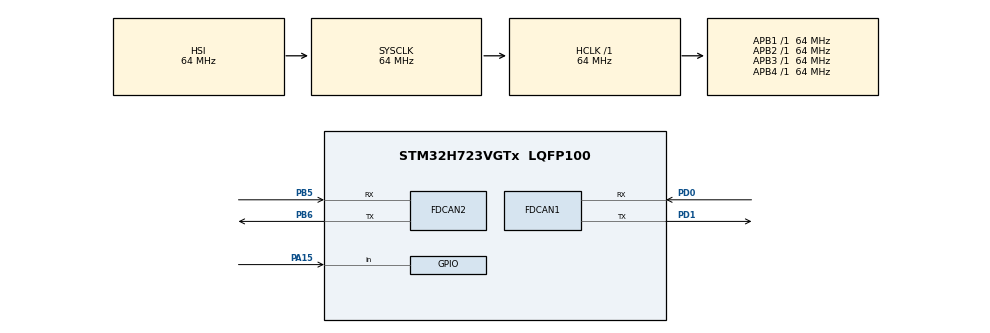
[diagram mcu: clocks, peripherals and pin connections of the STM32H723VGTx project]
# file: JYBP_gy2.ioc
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CORTEX_M7.default_mode_Activation=1
FDCAN1.CalculateBaudRateNominal=1000000
FDCAN1.CalculateTimeBitNominal=1000
FDCAN1.CalculateTimeQuantumNominal=83.33333333333333
FDCAN1.ExtFiltersNbr=2
FDCAN1.NominalPrescaler=4
FDCAN1.NominalTimeSeg1=9
FDCAN1.RxFifo0ElmtsNbr=2
FDCAN1.TxFifoQueueElmtsNbr=3
FDCAN2.CalculateBaudRateNominal=1000000
FDCAN2.CalculateTimeBitNominal=1000
FDCAN2.CalculateTimeQuantumNominal=83.33333333333333
FDCAN2.ExtFiltersNbr=2
FDCAN2.NominalPrescaler=4
FDCAN2.NominalTimeSeg1=9
FDCAN2.RxFifo0ElmtsNbr=2
FDCAN2.TxFifoQueueElmtsNbr=3
Mcu.Family=STM32H7
Mcu.Name=STM32H723VGTx
Mcu.Package=LQFP100
NVIC.FDCAN1_IT0_IRQn=true\:0\:0\:false\:false\:true\:true\:true\:true
NVIC.FDCAN1_IT1_IRQn=true\:0\:0\:false\:false\:true\:true\:true\:true
NVIC.FDCAN2_IT0_IRQn=true\:0\:0\:false\:false\:true\:true\:true\:true
NVIC.FDCAN2_IT1_IRQn=true\:0\:0\:false\:false\:true\:true\:true\:true
NVIC.PriorityGroup=NVIC_PRIORITYGROUP_4
NVIC.TIM2_IRQn=true\:0\:0\:false\:false\:true\:true\:true\:true
NVIC.TIM3_IRQn=true\:1\:0\:true\:false\:true\:true\:true\:true
PA15(JTDI).GPIO_PuPd=GPIO_PULLUP
PA15(JTDI).Signal=GPIO_Input
PB5.Mode=FDCAN_Activate
PB5.Signal=FDCAN2_RX
PB6.Mode=FDCAN_Activate
PB6.Signal=FDCAN2_TX
PD0.Mode=FDCAN_Activate
PD0.Signal=FDCAN1_RX
PD1.Mode=FDCAN_Activate
PD1.Signal=FDCAN1_TX
PH0-OSC_IN.Mode=HSE-External-Oscillator
PH0-OSC_IN.Signal=RCC_OSC_IN
PH1-OSC_OUT.Mode=HSE-External-Oscillator
PH1-OSC_OUT.Signal=RCC_OSC_OUT
ProjectManager.HeapSize=0x200
ProjectManager.StackSize=0x400
ProjectManager.TargetToolchain=MDK-ARM V5.32
RCC.ADCFreq_Value=129000000
RCC.APB1Freq_Value=64000000
RCC.APB2Freq_Value=64000000
RCC.APB3Freq_Value=64000000
RCC.APB4Freq_Value=64000000
RCC.CortexFreq_Value=64000000
RCC.DIVM1=4
RCC.DIVN1=12
RCC.DIVQ1=4
RCC.HCLKFreq_Value=64000000
RCC.PLLFRACN=0
RCC.SYSCLKFreq_VALUE=64000000
RCC.USBFreq_Value=48000000
TIM2.Period=999
TIM2.Prescaler=3199
TIM3.Period=9999
TIM3.Prescaler=639
VP_MEMORYMAP_VS_MEMORYMAP.Mode=CurAppReg
VP_TIM2_VS_ClockSourceINT.Mode=Internal
VP_TIM3_VS_ClockSourceINT.Mode=Internal
board=custom

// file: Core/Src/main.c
/* USER CODE BEGIN Header */
/**
  ******************************************************************************
  * @file           : main.c
  * @brief          : Main program body
  ******************************************************************************
  * @attention
  *
  * Copyright (c) 2025 STMicroelectronics.
  * All rights reserved.
  *
  * This software is licensed under terms that can be found in the LICENSE file
  * in the root directory of this software component.
  * If no LICENSE file comes with this software, it is provided AS-IS.
  *
  ******************************************************************************
  */
/* USER CODE END Header */
#include "main.h"

/* USER CODE BEGIN PD */

#define LASER_ID 0x101        // ????? CAN ID
#define MOTOR_POS_ID 0x302    // CyberGear ???? CAN ID
#define TARGET_DISTANCE 330.0 // ????,?? mm
#define NOISE_THRESHOLD 25.0  // ?????,?25mm
#define ALPHA 0.05            // EMA ????
#define WINDOW_VAR 1200       // ????,60s / 0.05s = 1200 ??
#define STOP_THRESHOLD 0.000025 // ??????
#define TREND_THRESHOLD 10.0  // ????,?10mm
#define CONTROL_INTERVAL 30   // ????,30s
#define STOP_PIN GPIO_PIN_0   // ????,PA0
#define STOP_PORT GPIOA
#define PAUSE_PIN GPIO_PIN_1  // ????,PA1

/* USER CODE END PD */

FDCAN_HandleTypeDef hfdcan1;
FDCAN_HandleTypeDef hfdcan2;

TIM_HandleTypeDef htim2;
TIM_HandleTypeDef htim3;

/* USER CODE BEGIN PV */

float laser_filtered = 0;    // ???????
float laser_ema = 0;         // EMA ?
float motor_pos = 0;         // ????(?)
float last_ema = 0;          // ??? EMA ?
float variance = 0;          // ??????
float window_data[WINDOW_VAR]; // ????????
uint32_t window_idx = 0;     // ????
uint8_t is_stopped = 0;      // ??????
uint8_t tx_data_jogp[8]={0x05,0x70,0x00,0x00,0x07,0x01,0x95,0x54};
uint8_t d2_runmode=0;

/* USER CODE END PV */

void SystemClock_Config(void);
static void MPU_Config(void);
static void MX_GPIO_Init(void);
static void MX_FDCAN1_Init(void);
static void MX_FDCAN2_Init(void);
static void MX_TIM2_Init(void);
static void MX_TIM3_Init(void);

int main(void)
{

  /* MPU Configuration--------------------------------------------------------*/
  MPU_Config();

  /* MCU Configuration--------------------------------------------------------*/

  /* Reset of all peripherals, Initializes the Flash interface and the Systick. */
  HAL_Init();

  /* Configure the system clock */
  SystemClock_Config();

  /* Initialize all configured peripherals */
  MX_GPIO_Init();
  MX_FDCAN1_Init();
  MX_FDCAN2_Init();
  MX_TIM2_Init();
  MX_TIM3_Init();
  /* USER CODE BEGIN 2 */

	CybergearCanInterfaceStm32 cybergear_can_interface_;
	CybergearCanInterfaceStm32 cybergear_can_interface_2;

  cybergear_can_interface_.initCan(&hfdcan1);
	cybergear_can_interface_2.initCan(&hfdcan2);

  CybergearDriver driver1_(0xFD, 0x001);
  CybergearDriver driver2_(0xFD, 0x002);

  driver1_.init(&cybergear_can_interface_2);
  driver2_.init(&cybergear_can_interface_2);

  driver1_.reset_motor();
  driver1_.set_mech_position_to_zero();
  driver1_.enable_motor();
  driver1_.set_run_mode(CMD_CONTROL);

  driver2_.reset_motor();
	//d2_runmode=driver2_.	get_run_mode();
  driver2_.set_mech_position_to_zero();
	//d2_runmode=driver2_.	get_run_mode();
  driver2_.enable_motor();
	//d2_runmode=driver2_.	get_run_mode();
  driver2_.set_run_mode(CMD_CONTROL);
	//d2_runmode=driver2_.	get_run_mode();
	//uint8_t test_data[8] = {0x01, 0x02, 0x03, 0x04, 0x05, 0x06, 0x07, 0x08};
	//cybergear_can_interface_2.send_message(0x12345678, test_data, 8, true);
	HAL_Delay(100);
  /* USER CODE END 2 */

  /* Infinite loop */
  while (1)
  {

    /* USER CODE BEGIN 3 */
		HAL_GPIO_TogglePin(GPIOA, GPIO_PIN_15);
		HAL_Delay(500);
		GPIO_PinState pinState = HAL_GPIO_ReadPin(GPIOA, GPIO_PIN_15);

		if (pinState == GPIO_PIN_SET) {

//		d2_runmode=driver2_.	get_run_mode();
//	if	(d2_runmode==0)
//	{
//		  driver1_.enable_motor();
//		  driver2_.enable_motor();
//	}
//
		driver1_.motor_control(0.0, 0.1, 0.0, 15, 1);
    HAL_Delay(500);
    driver2_.motor_control(0.0, 0.1, 0.0, 15, 1);
    HAL_Delay(500);
    driver1_.motor_control(1.0, 0.1, 0.0, 15, 1);
    HAL_Delay(500);
		driver2_.motor_control(1.0, 0.1, 0.0, 15, 1);
    HAL_Delay(500);
		//HAL_FDCAN_AddMessageToTxFifoQ(hfdcan2, &TxHeader, data);
		//cybergear_can_interface_.send_message(0x12345678, test_data, 8, true);
		//fdcanx_send_data(&hfdcan2, 0x1200fd02, tx_data_jogp, 8);
		HAL_Delay(500);

        } else {
            driver2_.reset_motor();
					  driver1_.reset_motor();
						HAL_Delay(500);

        }

  }
  /* USER CODE END 3 */
}

void SystemClock_Config(void)
{
  RCC_OscInitTypeDef RCC_OscInitStruct = {0};
  RCC_ClkInitTypeDef RCC_ClkInitStruct = {0};

  /** Supply configuration update enable
  */
  HAL_PWREx_ConfigSupply(PWR_LDO_SUPPLY);

  /** Configure the main internal regulator output voltage
  */
  __HAL_PWR_VOLTAGESCALING_CONFIG(PWR_REGULATOR_VOLTAGE_SCALE3);

  while(!__HAL_PWR_GET_FLAG(PWR_FLAG_VOSRDY)) {}

  /** Initializes the RCC Oscillators according to the specified parameters
  * in the RCC_OscInitTypeDef structure.
  */
  RCC_OscInitStruct.OscillatorType = RCC_OSCILLATORTYPE_HSI;
  RCC_OscInitStruct.HSIState = RCC_HSI_DIV1;
  RCC_OscInitStruct.HSICalibrationValue = 64;
  RCC_OscInitStruct.PLL.PLLState = RCC_PLL_ON;
  RCC_OscInitStruct.PLL.PLLSource = RCC_PLLSOURCE_HSI;
  RCC_OscInitStruct.PLL.PLLM = 4;
  RCC_OscInitStruct.PLL.PLLN = 12;
  RCC_OscInitStruct.PLL.PLLP = 2;
  RCC_OscInitStruct.PLL.PLLQ = 4;
  RCC_OscInitStruct.PLL.PLLR = 2;
  RCC_OscInitStruct.PLL.PLLRGE = RCC_PLL1VCIRANGE_3;
  RCC_OscInitStruct.PLL.PLLVCOSEL = RCC_PLL1VCOWIDE;
  RCC_OscInitStruct.PLL.PLLFRACN = 0;
  if (HAL_RCC_OscConfig(&RCC_OscInitStruct) != HAL_OK)
  {
    Error_Handler();
  }

  /** Initializes the CPU, AHB and APB buses clocks
  */
  RCC_ClkInitStruct.ClockType = RCC_CLOCKTYPE_HCLK|RCC_CLOCKTYPE_SYSCLK
                              |RCC_CLOCKTYPE_PCLK1|RCC_CLOCKTYPE_PCLK2
                              |RCC_CLOCKTYPE_D3PCLK1|RCC_CLOCKTYPE_D1PCLK1;
  RCC_ClkInitStruct.SYSCLKSource = RCC_SYSCLKSOURCE_HSI;
  RCC_ClkInitStruct.SYSCLKDivider = RCC_SYSCLK_DIV1;
  RCC_ClkInitStruct.AHBCLKDivider = RCC_HCLK_DIV1;
  RCC_ClkInitStruct.APB3CLKDivider = RCC_APB3_DIV1;
  RCC_ClkInitStruct.APB1CLKDivider = RCC_APB1_DIV1;
  RCC_ClkInitStruct.APB2CLKDivider = RCC_APB2_DIV1;
  RCC_ClkInitStruct.APB4CLKDivider = RCC_APB4_DIV1;

  if (HAL_RCC_ClockConfig(&RCC_ClkInitStruct, FLASH_LATENCY_1) != HAL_OK)
  {
    Error_Handler();
  }
}

static void MX_FDCAN1_Init(void)
{

  hfdcan1.Instance = FDCAN1;
  hfdcan1.Init.FrameFormat = FDCAN_FRAME_CLASSIC;
  hfdcan1.Init.Mode = FDCAN_MODE_NORMAL;
  hfdcan1.Init.AutoRetransmission = DISABLE;
  hfdcan1.Init.TransmitPause = DISABLE;
  hfdcan1.Init.ProtocolException = DISABLE;
  hfdcan1.Init.NominalPrescaler = 4;
  hfdcan1.Init.NominalSyncJumpWidth = 1;
  hfdcan1.Init.NominalTimeSeg1 = 9;
  hfdcan1.Init.NominalTimeSeg2 = 2;
  hfdcan1.Init.DataPrescaler = 1;
  hfdcan1.Init.DataSyncJumpWidth = 1;
  hfdcan1.Init.DataTimeSeg1 = 1;
  hfdcan1.Init.DataTimeSeg2 = 1;
  hfdcan1.Init.MessageRAMOffset = 0;
  hfdcan1.Init.StdFiltersNbr = 0;
  hfdcan1.Init.ExtFiltersNbr = 2;
  hfdcan1.Init.RxFifo0ElmtsNbr = 2;
  hfdcan1.Init.RxFifo0ElmtSize = FDCAN_DATA_BYTES_8;
  hfdcan1.Init.RxFifo1ElmtsNbr = 0;
  hfdcan1.Init.RxFifo1ElmtSize = FDCAN_DATA_BYTES_8;
  hfdcan1.Init.RxBuffersNbr = 0;
  hfdcan1.Init.RxBufferSize = FDCAN_DATA_BYTES_8;
  hfdcan1.Init.TxEventsNbr = 0;
  hfdcan1.Init.TxBuffersNbr = 0;
  hfdcan1.Init.TxFifoQueueElmtsNbr = 3;
  hfdcan1.Init.TxFifoQueueMode = FDCAN_TX_FIFO_OPERATION;
  hfdcan1.Init.TxElmtSize = FDCAN_DATA_BYTES_8;
  if (HAL_FDCAN_Init(&hfdcan1) != HAL_OK)
  {
    Error_Handler();
  }

}

static void MX_FDCAN2_Init(void)
{

  hfdcan2.Instance = FDCAN2;
  hfdcan2.Init.FrameFormat = FDCAN_FRAME_CLASSIC;
  hfdcan2.Init.Mode = FDCAN_MODE_NORMAL;
  hfdcan2.Init.AutoRetransmission = DISABLE;
  hfdcan2.Init.TransmitPause = DISABLE;
  hfdcan2.Init.ProtocolException = DISABLE;
  hfdcan2.Init.NominalPrescaler = 4;
  hfdcan2.Init.NominalSyncJumpWidth = 1;
  hfdcan2.Init.NominalTimeSeg1 = 9;
  hfdcan2.Init.NominalTimeSeg2 = 2;
  hfdcan2.Init.DataPrescaler = 1;
  hfdcan2.Init.DataSyncJumpWidth = 1;
  hfdcan2.Init.DataTimeSeg1 = 1;
  hfdcan2.Init.DataTimeSeg2 = 1;
  hfdcan2.Init.MessageRAMOffset = 0;
  hfdcan2.Init.StdFiltersNbr = 0;
  hfdcan2.Init.ExtFiltersNbr = 2;
  hfdcan2.Init.RxFifo0ElmtsNbr = 2;
  hfdcan2.Init.RxFifo0ElmtSize = FDCAN_DATA_BYTES_8;
  hfdcan2.Init.RxFifo1ElmtsNbr = 0;
  hfdcan2.Init.RxFifo1ElmtSize = FDCAN_DATA_BYTES_8;
  hfdcan2.Init.RxBuffersNbr = 0;
  hfdcan2.Init.RxBufferSize = FDCAN_DATA_BYTES_8;
  hfdcan2.Init.TxEventsNbr = 0;
  hfdcan2.Init.TxBuffersNbr = 0;
  hfdcan2.Init.TxFifoQueueElmtsNbr = 3;
  hfdcan2.Init.TxFifoQueueMode = FDCAN_TX_FIFO_OPERATION;
  hfdcan2.Init.TxElmtSize = FDCAN_DATA_BYTES_8;
  if (HAL_FDCAN_Init(&hfdcan2) != HAL_OK)
  {
    Error_Handler();
  }

}

static void MX_TIM2_Init(void)
{

  TIM_ClockConfigTypeDef sClockSourceConfig = {0};
  TIM_MasterConfigTypeDef sMasterConfig = {0};

  htim2.Instance = TIM2;
  htim2.Init.Prescaler = 3199;
  htim2.Init.CounterMode = TIM_COUNTERMODE_UP;
  htim2.Init.Period = 999;
  htim2.Init.ClockDivision = TIM_CLOCKDIVISION_DIV1;
  htim2.Init.AutoReloadPreload = TIM_AUTORELOAD_PRELOAD_DISABLE;
  if (HAL_TIM_Base_Init(&htim2) != HAL_OK)
  {
    Error_Handler();
  }
  sClockSourceConfig.ClockSource = TIM_CLOCKSOURCE_INTERNAL;
  if (HAL_TIM_ConfigClockSource(&htim2, &sClockSourceConfig) != HAL_OK)
  {
    Error_Handler();
  }
  sMasterConfig.MasterOutputTrigger = TIM_TRGO_RESET;
  sMasterConfig.MasterSlaveMode = TIM_MASTERSLAVEMODE_DISABLE;
  if (HAL_TIMEx_MasterConfigSynchronization(&htim2, &sMasterConfig) != HAL_OK)
  {
    Error_Handler();
  }

}

static void MX_TIM3_Init(void)
{

  TIM_ClockConfigTypeDef sClockSourceConfig = {0};
  TIM_MasterConfigTypeDef sMasterConfig = {0};

  htim3.Instance = TIM3;
  htim3.Init.Prescaler = 639;
  htim3.Init.CounterMode = TIM_COUNTERMODE_UP;
  htim3.Init.Period = 9999;
  htim3.Init.ClockDivision = TIM_CLOCKDIVISION_DIV1;
  htim3.Init.AutoReloadPreload = TIM_AUTORELOAD_PRELOAD_DISABLE;
  if (HAL_TIM_Base_Init(&htim3) != HAL_OK)
  {
    Error_Handler();
  }
  sClockSourceConfig.ClockSource = TIM_CLOCKSOURCE_INTERNAL;
  if (HAL_TIM_ConfigClockSource(&htim3, &sClockSourceConfig) != HAL_OK)
  {
    Error_Handler();
  }
  sMasterConfig.MasterOutputTrigger = TIM_TRGO_RESET;
  sMasterConfig.MasterSlaveMode = TIM_MASTERSLAVEMODE_DISABLE;
  if (HAL_TIMEx_MasterConfigSynchronization(&htim3, &sMasterConfig) != HAL_OK)
  {
    Error_Handler();
  }

}

static void MX_GPIO_Init(void)
{
  GPIO_InitTypeDef GPIO_InitStruct = {0};

  /* GPIO Ports Clock Enable */
  __HAL_RCC_GPIOH_CLK_ENABLE();
  __HAL_RCC_GPIOA_CLK_ENABLE();
  __HAL_RCC_GPIOD_CLK_ENABLE();
  __HAL_RCC_GPIOB_CLK_ENABLE();

  /*Configure GPIO pin : PA15 */
  GPIO_InitStruct.Pin = GPIO_PIN_15;
  GPIO_InitStruct.Mode = GPIO_MODE_INPUT;
  GPIO_InitStruct.Pull = GPIO_PULLUP;
  HAL_GPIO_Init(GPIOA, &GPIO_InitStruct);

}

/* USER CODE BEGIN 4 */
void fdcanx_send_data(FDCAN_HandleTypeDef *hfdcan, uint32_t id, uint8_t *data, uint32_t len)
{
	FDCAN_TxHeaderTypeDef TxHeader;

  TxHeader.Identifier = id;
  //TxHeader.IdType = FDCAN_STANDARD_ID;																// 标准ID
	TxHeader.IdType = FDCAN_EXTENDED_ID;																// 标准ID
  TxHeader.TxFrameType = FDCAN_DATA_FRAME;														// 数据帧
  TxHeader.DataLength =  FDCAN_DLC_BYTES_8;																		// 发送数据长度
  TxHeader.ErrorStateIndicator = FDCAN_ESI_ACTIVE;										// 设置错误状态指示
  TxHeader.BitRateSwitch = FDCAN_BRS_OFF;															// 不开启可变波特率
  TxHeader.FDFormat = FDCAN_CLASSIC_CAN;															// 普通CAN格式
  TxHeader.TxEventFifoControl = FDCAN_NO_TX_EVENTS;										// 用于发送事件FIFO控制, 不存储
  TxHeader.MessageMarker = 0x00; 			// 用于复制到TX EVENT FIFO的消息Maker来识别消息状态，范围0到0xFF
  HAL_FDCAN_AddMessageToTxFifoQ(hfdcan, &TxHeader, data)!=HAL_OK;

}
/* USER CODE END 4 */

 /* MPU Configuration */

void MPU_Config(void)
{
  MPU_Region_InitTypeDef MPU_InitStruct = {0};

  /* Disables the MPU */
  HAL_MPU_Disable();

  /** Initializes and configures the Region and the memory to be protected
  */
  MPU_InitStruct.Enable = MPU_REGION_ENABLE;
  MPU_InitStruct.Number = MPU_REGION_NUMBER0;
  MPU_InitStruct.BaseAddress = 0x0;
  MPU_InitStruct.Size = MPU_REGION_SIZE_4GB;
  MPU_InitStruct.SubRegionDisable = 0x87;
  MPU_InitStruct.TypeExtField = MPU_TEX_LEVEL0;
  MPU_InitStruct.AccessPermission = MPU_REGION_NO_ACCESS;
  MPU_InitStruct.DisableExec = MPU_INSTRUCTION_ACCESS_DISABLE;
  MPU_InitStruct.IsShareable = MPU_ACCESS_SHAREABLE;
  MPU_InitStruct.IsCacheable = MPU_ACCESS_NOT_CACHEABLE;
  MPU_InitStruct.IsBufferable = MPU_ACCESS_NOT_BUFFERABLE;

  HAL_MPU_ConfigRegion(&MPU_InitStruct);
  /* Enables the MPU */
  HAL_MPU_Enable(MPU_PRIVILEGED_DEFAULT);

}

void Error_Handler(void)
{
  __disable_irq();
  while (1)
  {
  }
}
